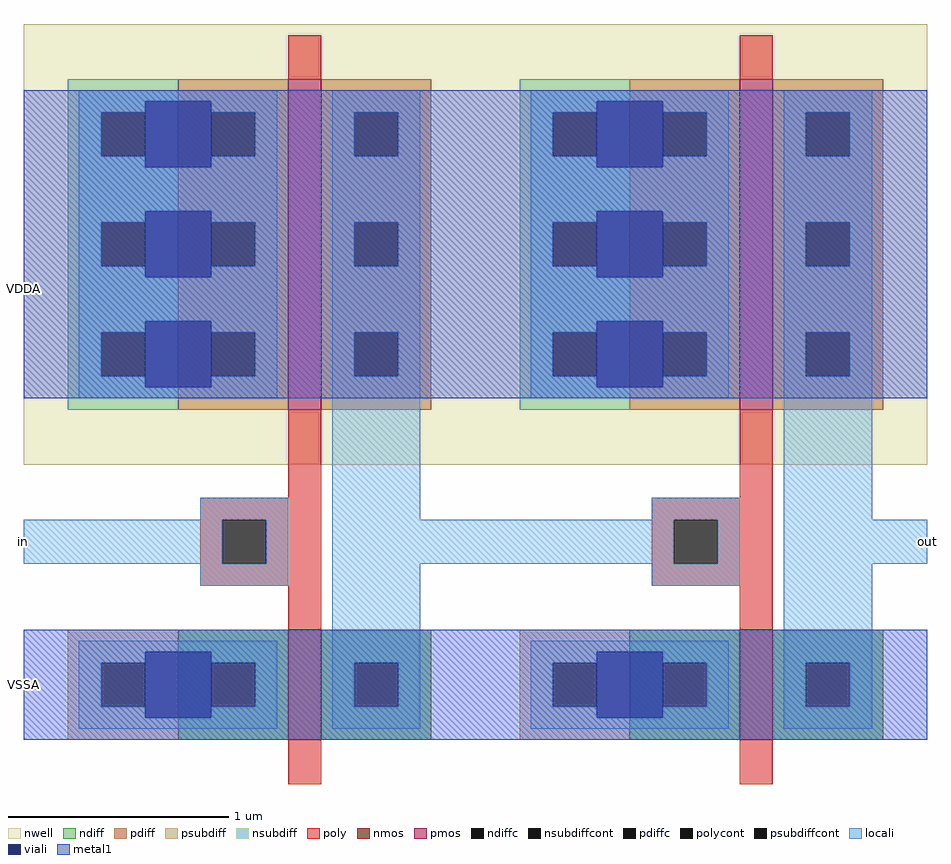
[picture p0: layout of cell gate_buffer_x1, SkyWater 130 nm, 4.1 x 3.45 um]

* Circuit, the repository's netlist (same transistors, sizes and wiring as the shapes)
** sch_path: /foss/designs/analog/gate_buffer_x1.sch
.subckt gate_buffer_x1 in out VDDA VSSA
*.PININFO in:I out:O VDDA:B VSSA:B
X1 in inb VDDA VSSA gate_not_x1
X2 inb out VDDA VSSA gate_not_x1
.ends

* expanding   symbol:  gate_not_x1.sym # of pins=4
** sym_path: /foss/designs/analog/gate_not_x1.sym
** sch_path: /foss/designs/analog/gate_not_x1.sch
.subckt gate_not_x1 in out VDDA VSSA
*.PININFO in:I VDDA:B VSSA:B out:O
XM1 out in VSSA VSSA sky130_fd_pr__nfet_01v8 L=0.15 W=0.5 nf=1 ad=0.145 as=0.145 pd=1.58 ps=1.58 nrd=0.58 nrs=0.58 sa=0 sb=0 sd=0
+ mult=1
XM2 out in VDDA VDDA sky130_fd_pr__pfet_01v8 L=0.15 W=1.5 nf=1 ad=0.435 as=0.435 pd=3.58 ps=3.58 nrd=0.193333333333333
+ nrs=0.193333333333333 sa=0 sb=0 sd=0 mult=1
.ends

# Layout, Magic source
magic
tech sky130A
<< locali >>
rect -35 85 45 105
rect 310 85 375 105
<< metal1 >>
rect -35 160 375 300
rect -35 5 375 55
use gate_not_x1  gate_not_x1_0
transform 1 0 70 0 1 15
box -105 -30 100 315
use gate_not_x1  gate_not_x1_1
transform 1 0 275 0 1 15
box -105 -30 100 315
<< labels >>
flabel locali -35 95 -35 95 3 FreeSerif 160 0 0 0 in
port 1 e
flabel locali 375 95 375 95 7 FreeSerif 160 0 0 0 out
port 2 w
flabel metal1 -35 210 -35 210 3 FreeSerif 160 0 0 0 VDDA
port 3 e
flabel metal1 -35 30 -35 30 3 FreeSerif 160 0 0 0 VSSA
port 4 e
<< end >>

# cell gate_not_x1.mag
magic
tech sky130A
<< nwell >>
rect -105 115 100 315
<< nmos >>
rect 15 -10 30 40
<< pmos >>
rect 15 140 30 290
<< ndiff >>
rect -35 25 15 40
rect -35 5 -20 25
rect 0 5 15 25
rect -35 -10 15 5
rect 30 25 80 40
rect 30 5 45 25
rect 65 5 80 25
rect 30 -10 80 5
<< pdiff >>
rect -35 275 15 290
rect -35 255 -20 275
rect 0 255 15 275
rect -35 225 15 255
rect -35 205 -20 225
rect 0 205 15 225
rect -35 175 15 205
rect -35 155 -20 175
rect 0 155 15 175
rect -35 140 15 155
rect 30 275 80 290
rect 30 255 45 275
rect 65 255 80 275
rect 30 225 80 255
rect 30 205 45 225
rect 65 205 80 225
rect 30 175 80 205
rect 30 155 45 175
rect 65 155 80 175
rect 30 140 80 155
<< ndiffc >>
rect -20 5 0 25
rect 45 5 65 25
<< pdiffc >>
rect -20 255 0 275
rect -20 205 0 225
rect -20 155 0 175
rect 45 255 65 275
rect 45 205 65 225
rect 45 155 65 175
<< psubdiff >>
rect -85 25 -35 40
rect -85 5 -70 25
rect -50 5 -35 25
rect -85 -10 -35 5
<< nsubdiff >>
rect -85 275 -35 290
rect -85 255 -70 275
rect -50 255 -35 275
rect -85 225 -35 255
rect -85 205 -70 225
rect -50 205 -35 225
rect -85 175 -35 205
rect -85 155 -70 175
rect -50 155 -35 175
rect -85 140 -35 155
<< psubdiffcont >>
rect -70 5 -50 25
<< nsubdiffcont >>
rect -70 255 -50 275
rect -70 205 -50 225
rect -70 155 -50 175
<< poly >>
rect 15 290 30 310
rect 15 100 30 140
rect -25 90 30 100
rect -25 70 -15 90
rect 5 70 30 90
rect -25 60 30 70
rect 15 40 30 60
rect 15 -30 30 -10
<< polycont >>
rect -15 70 5 90
<< locali >>
rect -80 280 10 285
rect -80 275 -50 280
rect -80 255 -70 275
rect -80 250 -50 255
rect -20 275 10 280
rect 0 255 10 275
rect -20 250 10 255
rect -80 230 10 250
rect -80 225 -50 230
rect -80 205 -70 225
rect -80 200 -50 205
rect -20 225 10 230
rect 0 205 10 225
rect -20 200 10 205
rect -80 180 10 200
rect -80 175 -50 180
rect -80 155 -70 175
rect -80 150 -50 155
rect -20 175 10 180
rect 0 155 10 175
rect -20 150 10 155
rect -80 145 10 150
rect 35 275 75 285
rect 35 255 45 275
rect 65 255 75 275
rect 35 225 75 255
rect 35 205 45 225
rect 65 205 75 225
rect 35 175 75 205
rect 35 155 45 175
rect 65 155 75 175
rect -25 90 15 100
rect -105 70 -15 90
rect 5 70 15 90
rect -25 60 15 70
rect 35 90 75 155
rect 35 70 100 90
rect -80 30 10 35
rect -80 25 -50 30
rect -80 5 -70 25
rect -80 0 -50 5
rect -20 25 10 30
rect 0 5 10 25
rect -20 0 10 5
rect -80 -5 10 0
rect 35 25 75 70
rect 35 5 45 25
rect 65 5 75 25
rect 35 -5 75 5
<< viali >>
rect -50 250 -20 280
rect -50 200 -20 230
rect -50 150 -20 180
rect -50 0 -20 30
<< metal1 >>
rect -105 280 100 285
rect -105 250 -50 280
rect -20 250 100 280
rect -105 230 100 250
rect -105 200 -50 230
rect -20 200 100 230
rect -105 180 100 200
rect -105 150 -50 180
rect -20 150 100 180
rect -105 145 100 150
rect -105 30 100 40
rect -105 0 -50 30
rect -20 0 100 30
rect -105 -10 100 0
<< labels >>
flabel locali -105 80 -105 80 3 FreeSerif 160 0 0 0 in
port 1 e
flabel locali 100 80 100 80 7 FreeSerif 160 0 0 0 out
port 2 w
flabel metal1 -105 195 -105 195 3 FreeSerif 160 0 0 0 VDDA
port 3 e
flabel metal1 -105 15 -105 15 3 FreeSerif 160 0 0 0 VSSA
port 4 e
<< end >>
